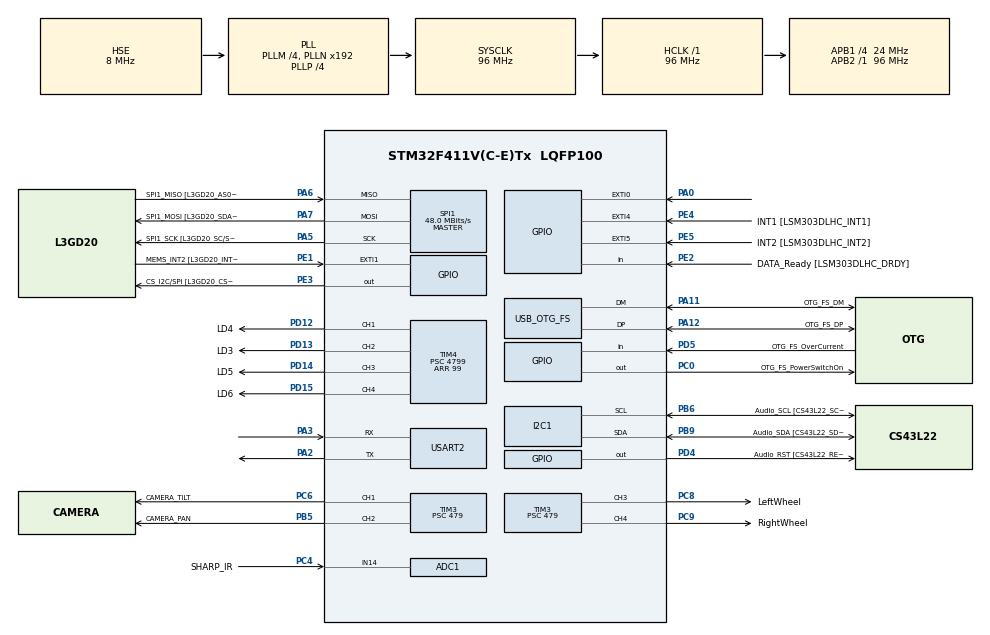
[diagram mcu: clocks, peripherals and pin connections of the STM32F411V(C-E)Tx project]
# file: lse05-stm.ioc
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ADC1.Channel-0\#ChannelRegularConversion=ADC_CHANNEL_14
ADC1.NbrOfConversionFlag=1
ADC1.Rank-0\#ChannelRegularConversion=1
ADC1.Resolution=ADC_RESOLUTION_8B
ADC1.SamplingTime-0\#ChannelRegularConversion=ADC_SAMPLETIME_3CYCLES
ADC1.master=1
Mcu.Family=STM32F4
Mcu.Name=STM32F411V(C-E)Tx
Mcu.Package=LQFP100
NVIC.ADC_IRQn=true\:0\:0\:false\:false\:true\:true
NVIC.OTG_FS_IRQn=true\:0\:0\:false\:false\:true\:true
NVIC.PriorityGroup=NVIC_PRIORITYGROUP_4
NVIC.RCC_IRQn=true\:0\:0\:false\:false\:true\:true
NVIC.TIM1_UP_TIM10_IRQn=true\:0\:0\:false\:false\:true\:true
NVIC.USART2_IRQn=true\:0\:0\:false\:false\:true\:true
PA0-WKUP.GPIO_ModeDefaultEXTI=GPIO_MODE_EVT_RISING
PA0-WKUP.Signal=GPXTI0
PA10.GPIO_Label=OTG_FS_ID
PA10.Signal=USB_OTG_FS_ID
PA11.GPIO_Label=OTG_FS_DM
PA11.Mode=Device_Only
PA11.Signal=USB_OTG_FS_DM
PA12.GPIO_Label=OTG_FS_DP
PA12.Mode=Device_Only
PA12.Signal=USB_OTG_FS_DP
PA13.GPIO_Label=SWDIO
PA13.Mode=Serial_Wire
PA13.Signal=SYS_JTMS-SWDIO
PA14.GPIO_Label=SWCLK
PA14.Mode=Serial_Wire
PA14.Signal=SYS_JTCK-SWCLK
PA2.Mode=Asynchronous
PA2.Signal=USART2_TX
PA3.Mode=Asynchronous
PA3.Signal=USART2_RX
PA4.GPIO_Label=I2S3_WS [CS43L22_LRCK]
PA4.GPIO_Mode=GPIO_MODE_AF_PP
PA4.GPIO_PuPd=GPIO_NOPULL
PA4.GPIO_Speed=GPIO_SPEED_FREQ_LOW
PA4.Signal=I2S3_WS
PA5.GPIO_Label=SPI1_SCK [L3GD20_SC/SPC]
PA5.Mode=Full_Duplex_Master
PA5.Signal=SPI1_SCK
PA6.GPIO_Label=SPI1_MISO [L3GD20_AS0/SDO]
PA6.Mode=Full_Duplex_Master
PA6.Signal=SPI1_MISO
PA7.GPIO_Label=SPI1_MOSI [L3GD20_SDA/SDI/SDO]
PA7.Mode=Full_Duplex_Master
PA7.Signal=SPI1_MOSI
PA9.GPIO_Label=VBUS_FS
PA9.Signal=USB_OTG_FS_VBUS
PB10.GPIO_Label=CLK_IN [MP45DT02_CLK]
PB10.Signal=I2S2_CK
PB12.Signal=I2S2_WS
PB3.GPIO_Label=SWO
PB3.Signal=SYS_JTDO-SWO
PB5.GPIO_Label=CAMERA_PAN
PB5.Signal=S_TIM3_CH2
PB6.GPIO_Label=Audio_SCL [CS43L22_SCL]
PB6.GPIO_Mode=GPIO_MODE_AF_OD
PB6.GPIO_PuPd=GPIO_NOPULL
PB6.GPIO_Speed=GPIO_SPEED_FREQ_LOW
PB6.Mode=I2C
PB6.Signal=I2C1_SCL
PB9.GPIO_Label=Audio_SDA [CS43L22_SDA]
PB9.GPIO_Mode=GPIO_MODE_AF_OD
PB9.GPIO_PuPd=GPIO_NOPULL
PB9.GPIO_Speed=GPIO_SPEED_FREQ_LOW
PB9.Mode=I2C
PB9.Signal=I2C1_SDA
PC0.GPIO_Label=OTG_FS_PowerSwitchOn
PC0.PinState=GPIO_PIN_SET
PC0.Signal=GPIO_Output
PC10.GPIO_Label=I2S3_SCK [CS43L22_SCLK]
PC10.GPIO_Mode=GPIO_MODE_AF_PP
PC10.GPIO_PuPd=GPIO_NOPULL
PC10.GPIO_Speed=GPIO_SPEED_FREQ_LOW
PC10.Signal=I2S3_CK
PC12.GPIO_Label=I2S3_SD [CS43L22_SDIN]
PC12.GPIO_Mode=GPIO_MODE_AF_PP
PC12.GPIO_PuPd=GPIO_NOPULL
PC12.GPIO_Speed=GPIO_SPEED_FREQ_LOW
PC12.Signal=I2S3_SD
PC14-OSC32_IN.GPIO_Label=PC14-OSC32_IN
PC14-OSC32_IN.Mode=LSE-External-Oscillator
PC14-OSC32_IN.Signal=RCC_OSC32_IN
PC15-OSC32_OUT.GPIO_Label=PC15-OSC32_OUT
PC15-OSC32_OUT.Mode=LSE-External-Oscillator
PC15-OSC32_OUT.Signal=RCC_OSC32_OUT
PC3.GPIO_Label=PDM_OUT [MP45DT02_DOUT]
PC3.Signal=I2S2_SD
PC4.GPIO_Label=SHARP_IR
PC4.Signal=ADCx_IN14
PC6.GPIO_Label=CAMERA_TILT
PC6.Signal=S_TIM3_CH1
PC7.GPIO_Label=I2S3_MCK [CS43L22_MCLK]
PC7.GPIO_Mode=GPIO_MODE_AF_PP
PC7.GPIO_PuPd=GPIO_NOPULL
PC7.GPIO_Speed=GPIO_SPEED_FREQ_LOW
PC7.Signal=I2S3_MCK
PC8.GPIO_Label=LeftWheel
PC8.Signal=S_TIM3_CH3
PC9.GPIO_Label=RightWheel
PC9.Signal=S_TIM3_CH4
PD12.GPIO_Label=LD4
PD12.Signal=S_TIM4_CH1
PD13.GPIO_Label=LD3
PD13.Signal=S_TIM4_CH2
PD14.GPIO_Label=LD5
PD14.Signal=S_TIM4_CH3
PD15.GPIO_Label=LD6
PD15.Signal=S_TIM4_CH4
PD4.GPIO_Label=Audio_RST [CS43L22_RESET]
PD4.Signal=GPIO_Output
PD5.GPIO_Label=OTG_FS_OverCurrent
PD5.Signal=GPIO_Input
PE1.GPIO_Label=MEMS_INT2 [L3GD20_INT2]
PE1.GPIO_ModeDefaultEXTI=GPIO_MODE_EVT_RISING
PE1.Signal=GPXTI1
PE2.GPIO_Label=DATA_Ready [LSM303DLHC_DRDY]
PE2.Signal=GPIO_Input
PE3.GPIO_Label=CS_I2C/SPI [L3GD20_CS_I2C/SPI]
PE3.Signal=GPIO_Output
PE4.GPIO_Label=INT1 [LSM303DLHC_INT1]
PE4.GPIO_ModeDefaultEXTI=GPIO_MODE_EVT_RISING
PE4.Signal=GPXTI4
PE5.GPIO_Label=INT2 [LSM303DLHC_INT2]
PE5.GPIO_ModeDefaultEXTI=GPIO_MODE_EVT_RISING
PE5.Signal=GPXTI5
PH0\ -\ OSC_IN.GPIO_Label=PH0-OSC_IN
PH0\ -\ OSC_IN.Mode=HSE-External-Clock-Source
PH0\ -\ OSC_IN.Signal=RCC_OSC_IN
PH1\ -\ OSC_OUT.GPIO_Label=PH1-OSC_OUT
PH1\ -\ OSC_OUT.Mode=HSE-External-Clock-Source
PH1\ -\ OSC_OUT.Signal=RCC_OSC_OUT
ProjectManager.HeapSize=0x200
ProjectManager.StackSize=0x400
ProjectManager.TargetToolchain=SW4STM32
RCC.48MHZClocksFreq_Value=48000000
RCC.AHBFreq_Value=96000000
RCC.APB1CLKDivider=RCC_HCLK_DIV4
RCC.APB1Freq_Value=24000000
RCC.APB1TimFreq_Value=48000000
RCC.APB2Freq_Value=96000000
RCC.APB2TimFreq_Value=96000000
RCC.CortexFreq_Value=96000000
RCC.HCLKFreq_Value=96000000
RCC.HSE_VALUE=8000000
RCC.HSI_VALUE=16000000
RCC.PLLI2SM=5
RCC.PLLI2SN=200
RCC.PLLM=4
RCC.PLLP=RCC_PLLP_DIV4
RCC.PLLQ=8
RCC.SYSCLKFreq_VALUE=96000000
RCC.SYSCLKSource=RCC_SYSCLKSOURCE_PLLCLK
RCC.VCOOutputFreq_Value=384000000
SH.ADCx_IN14.0=ADC1_IN14,IN14
SH.S_TIM3_CH1.0=TIM3_CH1,PWM Generation1 CH1
SH.S_TIM3_CH2.0=TIM3_CH2,PWM Generation2 CH2
SH.S_TIM3_CH3.0=TIM3_CH3,PWM Generation3 CH3
SH.S_TIM3_CH4.0=TIM3_CH4,PWM Generation4 CH4
SH.S_TIM4_CH1.0=TIM4_CH1,PWM Generation1 CH1
SH.S_TIM4_CH2.0=TIM4_CH2,PWM Generation2 CH2
SH.S_TIM4_CH3.0=TIM4_CH3,PWM Generation3 CH3
SH.S_TIM4_CH4.0=TIM4_CH4,PWM Generation4 CH4
SPI1.CalculateBaudRate=48.0 MBits/s
SPI1.Direction=SPI_DIRECTION_2LINES
SPI1.Mode=SPI_MODE_MASTER
SPI1.VirtualType=VM_MASTER
TIM10.Period=39
TIM10.Prescaler=48000
TIM3.Channel-PWM\ Generation1\ CH1=TIM_CHANNEL_1
TIM3.Channel-PWM\ Generation2\ CH2=TIM_CHANNEL_2
TIM3.Channel-PWM\ Generation3\ CH3=TIM_CHANNEL_3
TIM3.Channel-PWM\ Generation4\ CH4=TIM_CHANNEL_4
TIM3.Period=1999
TIM3.Prescaler=479
TIM3.Pulse-PWM\ Generation1\ CH1=50
TIM3.Pulse-PWM\ Generation3\ CH3=50
TIM3.Pulse-PWM\ Generation4\ CH4=50
TIM4.Channel-PWM\ Generation1\ CH1=TIM_CHANNEL_1
TIM4.Channel-PWM\ Generation2\ CH2=TIM_CHANNEL_2
TIM4.Channel-PWM\ Generation3\ CH3=TIM_CHANNEL_3
TIM4.Channel-PWM\ Generation4\ CH4=TIM_CHANNEL_4
TIM4.Period=99
TIM4.Prescaler=4799
TIM4.Pulse-PWM\ Generation1\ CH1=0
TIM4.Pulse-PWM\ Generation2\ CH2=0
TIM4.Pulse-PWM\ Generation3\ CH3=0
USART2.VirtualMode=VM_ASYNC
USB_DEVICE.CLASS_NAME_FS=CDC
USB_DEVICE.VirtualMode=Cdc
USB_DEVICE.VirtualModeFS=Cdc_FS
USB_OTG_FS.VirtualMode=Device_Only
VP_TIM10_VS_ClockSourceINT.Mode=Enable_Timer
VP_USB_DEVICE_VS_USB_DEVICE_CDC_FS.Mode=CDC_FS
board=32F411EDISCOVERY

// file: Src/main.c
/**
  ******************************************************************************
  * @file           : main.c
  * @brief          : Main program body
  ******************************************************************************
  * This notice applies to any and all portions of this file
  * that are not between comment pairs USER CODE BEGIN and
  * USER CODE END. Other portions of this file, whether
  * inserted by the user or by software development tools
  * are owned by their respective copyright owners.
  *
  * Copyright (c) 2018 STMicroelectronics International N.V.
  * All rights reserved.
  *
  * Redistribution and use in source and binary forms, with or without
  * modification, are permitted, provided that the following conditions are met:
  *
  * 1. Redistribution of source code must retain the above copyright notice,
  *    this list of conditions and the following disclaimer.
  * 2. Redistributions in binary form must reproduce the above copyright notice,
  *    this list of conditions and the following disclaimer in the documentation
  *    and/or other materials provided with the distribution.
  * 3. Neither the name of STMicroelectronics nor the names of other
  *    contributors to this software may be used to endorse or promote products
  *    derived from this software without specific written permission.
  * 4. This software, including modifications and/or derivative works of this
  *    software, must execute solely and exclusively on microcontroller or
  *    microprocessor devices manufactured by or for STMicroelectronics.
  * 5. Redistribution and use of this software other than as permitted under
  *    this license is void and will automatically terminate your rights under
  *    this license.
  *
  * THIS SOFTWARE IS PROVIDED BY STMICROELECTRONICS AND CONTRIBUTORS "AS IS"
  * AND ANY EXPRESS, IMPLIED OR STATUTORY WARRANTIES, INCLUDING, BUT NOT
  * LIMITED TO, THE IMPLIED WARRANTIES OF MERCHANTABILITY, FITNESS FOR A
  * PARTICULAR PURPOSE AND NON-INFRINGEMENT OF THIRD PARTY INTELLECTUAL PROPERTY
  * RIGHTS ARE DISCLAIMED TO THE FULLEST EXTENT PERMITTED BY LAW. IN NO EVENT
  * SHALL STMICROELECTRONICS OR CONTRIBUTORS BE LIABLE FOR ANY DIRECT, INDIRECT,
  * INCIDENTAL, SPECIAL, EXEMPLARY, OR CONSEQUENTIAL DAMAGES (INCLUDING, BUT NOT
  * LIMITED TO, PROCUREMENT OF SUBSTITUTE GOODS OR SERVICES; LOSS OF USE, DATA,
  * OR PROFITS; OR BUSINESS INTERRUPTION) HOWEVER CAUSED AND ON ANY THEORY OF
  * LIABILITY, WHETHER IN CONTRACT, STRICT LIABILITY, OR TORT (INCLUDING
  * NEGLIGENCE OR OTHERWISE) ARISING IN ANY WAY OUT OF THE USE OF THIS SOFTWARE,
  * EVEN IF ADVISED OF THE POSSIBILITY OF SUCH DAMAGE.
  *
  ******************************************************************************
  */
#include "main.h"
#include "stm32f4xx_hal.h"
#include "usb_device.h"

/* USER CODE BEGIN Includes */
#include "ring_buf.h"
#include "fsm.h"
#include <string.h>
#include <stdio.h>
#include <stdlib.h>
#include "stm32f411e_discovery_gyroscope.h"
#include "stm32f411e_discovery_accelerometer.h"
#include "stm32f411e_discovery_magnetometer.h"
#include "gyro.h"
#include "accelero.h"
#include "magneto.h"
#include "parser.h"
#include "sensor.h"
#include "uart.h"
#include "usb.h"
#include "collision.h"
/* USER CODE END Includes */

ADC_HandleTypeDef hadc1;

I2C_HandleTypeDef hi2c1;

SPI_HandleTypeDef hspi1;

TIM_HandleTypeDef htim3;
TIM_HandleTypeDef htim4;
TIM_HandleTypeDef htim10;

UART_HandleTypeDef huart2;

/* USER CODE BEGIN PV */
/* Private variables ---------------------------------------------------------*/
uint8_t test[]= "HOLA\r\n";
uint8_t uart_rx[512];
/* USER CODE END PV */

void SystemClock_Config(void);
static void MX_GPIO_Init(void);
static void MX_USART2_UART_Init(void);
static void MX_TIM3_Init(void);
static void MX_TIM4_Init(void);
static void MX_I2C1_Init(void);
static void MX_SPI1_Init(void);
static void MX_TIM10_Init(void);
static void MX_ADC1_Init(void);

void HAL_TIM_MspPostInit(TIM_HandleTypeDef *htim);

/* USER CODE BEGIN PFP */
/* Private function prototypes -----------------------------------------------*/

/* USER CODE END PFP */

int main(void)
{

  /* MCU Configuration----------------------------------------------------------*/

  /* Reset of all peripherals, Initializes the Flash interface and the Systick. */
  HAL_Init();

  /* Configure the system clock */
  SystemClock_Config();

  /* Initialize all configured peripherals */
  MX_GPIO_Init();
  MX_USART2_UART_Init();
  MX_USB_DEVICE_Init();
  MX_TIM3_Init();
  MX_TIM4_Init();
  MX_I2C1_Init();
  MX_SPI1_Init();
  MX_TIM10_Init();
  MX_ADC1_Init();
  /* USER CODE BEGIN 2 */
  fsm_t * usb_fsm  	      =       fsm_new_usb();
  fsm_t * uart_fsm 	      =      fsm_new_uart();
  fsm_t * parser_fsm      =    fsm_new_parser();
  fsm_t * imu_fsm 	      =       fsm_new_imu();
  fsm_t * proximity_fsm   = fsm_new_proximity();
  fsm_t * collision_fsm   = fsm_new_collision();
  sensorIMU.period = 800;
  sensorP.period   =  50;

  HAL_UART_Receive_IT(&huart2,(uint8_t *)uart_rx,UART_MSG_SIZE);
  USBD_CDC_ReceivePacket(&hUsbDeviceFS);

  HAL_TIM_PWM_Start(&htim3,TIM_CHANNEL_1);
  HAL_TIM_PWM_Start(&htim3,TIM_CHANNEL_2);
  HAL_TIM_PWM_Start(&htim3,TIM_CHANNEL_3);
  HAL_TIM_PWM_Start(&htim3,TIM_CHANNEL_4);

  HAL_TIM_PWM_Start(&htim4,TIM_CHANNEL_1);
  HAL_TIM_PWM_Start(&htim4,TIM_CHANNEL_2);
  HAL_TIM_PWM_Start(&htim4,TIM_CHANNEL_3);
  HAL_TIM_PWM_Start(&htim4,TIM_CHANNEL_4);

  // Valores de inicio para torreta y motores

  __HAL_TIM_SET_COMPARE(&htim3,TIM_CHANNEL_1,TILT_DEF);
  __HAL_TIM_SET_COMPARE(&htim3,TIM_CHANNEL_2,PAN_DEF);
  __HAL_TIM_SET_COMPARE(&htim3,TIM_CHANNEL_3,LEFT_DEF);
  __HAL_TIM_SET_COMPARE(&htim3,TIM_CHANNEL_4,RIGHT_DEF);
  HAL_TIM_Base_Start_IT(&htim10);
  BSP_ACCELERO_Init();
  BSP_GYRO_Init();
  BSP_MAGNETO_Init();
  /* USER CODE END 2 */

  /* Infinite loop */
  /* USER CODE BEGIN WHILE */
  while (1)
  {
	  //fsm_fire(proximity_fsm);
	 // fsm_fire(collision_fsm);
	 // if(collision_fsm->current_state == 0){ // COLLISION_IDLE
		  //fsm_fire(usb_fsm);
	  	  fsm_fire(uart_fsm);
	  	  fsm_fire(parser_fsm);
	  	  fsm_fire(imu_fsm);
	//  }
  /* USER CODE END WHILE */

  }

}

void SystemClock_Config(void)
{

  RCC_OscInitTypeDef RCC_OscInitStruct;
  RCC_ClkInitTypeDef RCC_ClkInitStruct;

    /**Configure the main internal regulator output voltage
    */
  __HAL_RCC_PWR_CLK_ENABLE();

  __HAL_PWR_VOLTAGESCALING_CONFIG(PWR_REGULATOR_VOLTAGE_SCALE1);

    /**Initializes the CPU, AHB and APB busses clocks
    */
  RCC_OscInitStruct.OscillatorType = RCC_OSCILLATORTYPE_HSE;
  RCC_OscInitStruct.HSEState = RCC_HSE_ON;
  RCC_OscInitStruct.PLL.PLLState = RCC_PLL_ON;
  RCC_OscInitStruct.PLL.PLLSource = RCC_PLLSOURCE_HSE;
  RCC_OscInitStruct.PLL.PLLM = 4;
  RCC_OscInitStruct.PLL.PLLN = 192;
  RCC_OscInitStruct.PLL.PLLP = RCC_PLLP_DIV4;
  RCC_OscInitStruct.PLL.PLLQ = 8;
  if (HAL_RCC_OscConfig(&RCC_OscInitStruct) != HAL_OK)
  {
    _Error_Handler(__FILE__, __LINE__);
  }

    /**Initializes the CPU, AHB and APB busses clocks
    */
  RCC_ClkInitStruct.ClockType = RCC_CLOCKTYPE_HCLK|RCC_CLOCKTYPE_SYSCLK
                              |RCC_CLOCKTYPE_PCLK1|RCC_CLOCKTYPE_PCLK2;
  RCC_ClkInitStruct.SYSCLKSource = RCC_SYSCLKSOURCE_PLLCLK;
  RCC_ClkInitStruct.AHBCLKDivider = RCC_SYSCLK_DIV1;
  RCC_ClkInitStruct.APB1CLKDivider = RCC_HCLK_DIV4;
  RCC_ClkInitStruct.APB2CLKDivider = RCC_HCLK_DIV1;

  if (HAL_RCC_ClockConfig(&RCC_ClkInitStruct, FLASH_LATENCY_3) != HAL_OK)
  {
    _Error_Handler(__FILE__, __LINE__);
  }

    /**Configure the Systick interrupt time
    */
  HAL_SYSTICK_Config(HAL_RCC_GetHCLKFreq()/1000);

    /**Configure the Systick
    */
  HAL_SYSTICK_CLKSourceConfig(SYSTICK_CLKSOURCE_HCLK);

  /* SysTick_IRQn interrupt configuration */
  HAL_NVIC_SetPriority(SysTick_IRQn, 0, 0);
}

/* ADC1 init function */
static void MX_ADC1_Init(void)
{

  ADC_ChannelConfTypeDef sConfig;

    /**Configure the global features of the ADC (Clock, Resolution, Data Alignment and number of conversion)
    */
  hadc1.Instance = ADC1;
  hadc1.Init.ClockPrescaler = ADC_CLOCK_SYNC_PCLK_DIV4;
  hadc1.Init.Resolution = ADC_RESOLUTION_8B;
  hadc1.Init.ScanConvMode = DISABLE;
  hadc1.Init.ContinuousConvMode = DISABLE;
  hadc1.Init.DiscontinuousConvMode = DISABLE;
  hadc1.Init.ExternalTrigConvEdge = ADC_EXTERNALTRIGCONVEDGE_NONE;
  hadc1.Init.ExternalTrigConv = ADC_SOFTWARE_START;
  hadc1.Init.DataAlign = ADC_DATAALIGN_RIGHT;
  hadc1.Init.NbrOfConversion = 1;
  hadc1.Init.DMAContinuousRequests = DISABLE;
  hadc1.Init.EOCSelection = ADC_EOC_SINGLE_CONV;
  if (HAL_ADC_Init(&hadc1) != HAL_OK)
  {
    _Error_Handler(__FILE__, __LINE__);
  }

    /**Configure for the selected ADC regular channel its corresponding rank in the sequencer and its sample time.
    */
  sConfig.Channel = ADC_CHANNEL_14;
  sConfig.Rank = 1;
  sConfig.SamplingTime = ADC_SAMPLETIME_3CYCLES;
  if (HAL_ADC_ConfigChannel(&hadc1, &sConfig) != HAL_OK)
  {
    _Error_Handler(__FILE__, __LINE__);
  }

}

/* I2C1 init function */
static void MX_I2C1_Init(void)
{

  hi2c1.Instance = I2C1;
  hi2c1.Init.ClockSpeed = 100000;
  hi2c1.Init.DutyCycle = I2C_DUTYCYCLE_2;
  hi2c1.Init.OwnAddress1 = 0;
  hi2c1.Init.AddressingMode = I2C_ADDRESSINGMODE_7BIT;
  hi2c1.Init.DualAddressMode = I2C_DUALADDRESS_DISABLE;
  hi2c1.Init.OwnAddress2 = 0;
  hi2c1.Init.GeneralCallMode = I2C_GENERALCALL_DISABLE;
  hi2c1.Init.NoStretchMode = I2C_NOSTRETCH_DISABLE;
  if (HAL_I2C_Init(&hi2c1) != HAL_OK)
  {
    _Error_Handler(__FILE__, __LINE__);
  }

}

/* SPI1 init function */
static void MX_SPI1_Init(void)
{

  /* SPI1 parameter configuration*/
  hspi1.Instance = SPI1;
  hspi1.Init.Mode = SPI_MODE_MASTER;
  hspi1.Init.Direction = SPI_DIRECTION_2LINES;
  hspi1.Init.DataSize = SPI_DATASIZE_8BIT;
  hspi1.Init.CLKPolarity = SPI_POLARITY_LOW;
  hspi1.Init.CLKPhase = SPI_PHASE_1EDGE;
  hspi1.Init.NSS = SPI_NSS_SOFT;
  hspi1.Init.BaudRatePrescaler = SPI_BAUDRATEPRESCALER_2;
  hspi1.Init.FirstBit = SPI_FIRSTBIT_MSB;
  hspi1.Init.TIMode = SPI_TIMODE_DISABLE;
  hspi1.Init.CRCCalculation = SPI_CRCCALCULATION_DISABLE;
  hspi1.Init.CRCPolynomial = 10;
  if (HAL_SPI_Init(&hspi1) != HAL_OK)
  {
    _Error_Handler(__FILE__, __LINE__);
  }

}

/* TIM3 init function */
static void MX_TIM3_Init(void)
{

  TIM_MasterConfigTypeDef sMasterConfig;
  TIM_OC_InitTypeDef sConfigOC;

  htim3.Instance = TIM3;
  htim3.Init.Prescaler = 479;
  htim3.Init.CounterMode = TIM_COUNTERMODE_UP;
  htim3.Init.Period = 1999;
  htim3.Init.ClockDivision = TIM_CLOCKDIVISION_DIV1;
  if (HAL_TIM_PWM_Init(&htim3) != HAL_OK)
  {
    _Error_Handler(__FILE__, __LINE__);
  }

  sMasterConfig.MasterOutputTrigger = TIM_TRGO_RESET;
  sMasterConfig.MasterSlaveMode = TIM_MASTERSLAVEMODE_DISABLE;
  if (HAL_TIMEx_MasterConfigSynchronization(&htim3, &sMasterConfig) != HAL_OK)
  {
    _Error_Handler(__FILE__, __LINE__);
  }

  sConfigOC.OCMode = TIM_OCMODE_PWM1;
  sConfigOC.Pulse = 50;
  sConfigOC.OCPolarity = TIM_OCPOLARITY_HIGH;
  sConfigOC.OCFastMode = TIM_OCFAST_DISABLE;
  if (HAL_TIM_PWM_ConfigChannel(&htim3, &sConfigOC, TIM_CHANNEL_1) != HAL_OK)
  {
    _Error_Handler(__FILE__, __LINE__);
  }

  sConfigOC.Pulse = 0;
  if (HAL_TIM_PWM_ConfigChannel(&htim3, &sConfigOC, TIM_CHANNEL_2) != HAL_OK)
  {
    _Error_Handler(__FILE__, __LINE__);
  }

  sConfigOC.Pulse = 50;
  if (HAL_TIM_PWM_ConfigChannel(&htim3, &sConfigOC, TIM_CHANNEL_3) != HAL_OK)
  {
    _Error_Handler(__FILE__, __LINE__);
  }

  if (HAL_TIM_PWM_ConfigChannel(&htim3, &sConfigOC, TIM_CHANNEL_4) != HAL_OK)
  {
    _Error_Handler(__FILE__, __LINE__);
  }

  HAL_TIM_MspPostInit(&htim3);

}

/* TIM4 init function */
static void MX_TIM4_Init(void)
{

  TIM_MasterConfigTypeDef sMasterConfig;
  TIM_OC_InitTypeDef sConfigOC;

  htim4.Instance = TIM4;
  htim4.Init.Prescaler = 4799;
  htim4.Init.CounterMode = TIM_COUNTERMODE_UP;
  htim4.Init.Period = 99;
  htim4.Init.ClockDivision = TIM_CLOCKDIVISION_DIV1;
  if (HAL_TIM_PWM_Init(&htim4) != HAL_OK)
  {
    _Error_Handler(__FILE__, __LINE__);
  }

  sMasterConfig.MasterOutputTrigger = TIM_TRGO_RESET;
  sMasterConfig.MasterSlaveMode = TIM_MASTERSLAVEMODE_DISABLE;
  if (HAL_TIMEx_MasterConfigSynchronization(&htim4, &sMasterConfig) != HAL_OK)
  {
    _Error_Handler(__FILE__, __LINE__);
  }

  sConfigOC.OCMode = TIM_OCMODE_PWM1;
  sConfigOC.Pulse = 0;
  sConfigOC.OCPolarity = TIM_OCPOLARITY_HIGH;
  sConfigOC.OCFastMode = TIM_OCFAST_DISABLE;
  if (HAL_TIM_PWM_ConfigChannel(&htim4, &sConfigOC, TIM_CHANNEL_1) != HAL_OK)
  {
    _Error_Handler(__FILE__, __LINE__);
  }

  if (HAL_TIM_PWM_ConfigChannel(&htim4, &sConfigOC, TIM_CHANNEL_2) != HAL_OK)
  {
    _Error_Handler(__FILE__, __LINE__);
  }

  if (HAL_TIM_PWM_ConfigChannel(&htim4, &sConfigOC, TIM_CHANNEL_3) != HAL_OK)
  {
    _Error_Handler(__FILE__, __LINE__);
  }

  if (HAL_TIM_PWM_ConfigChannel(&htim4, &sConfigOC, TIM_CHANNEL_4) != HAL_OK)
  {
    _Error_Handler(__FILE__, __LINE__);
  }

  HAL_TIM_MspPostInit(&htim4);

}

/* TIM10 init function */
static void MX_TIM10_Init(void)
{

  htim10.Instance = TIM10;
  htim10.Init.Prescaler = 48000;
  htim10.Init.CounterMode = TIM_COUNTERMODE_UP;
  htim10.Init.Period = 39;
  htim10.Init.ClockDivision = TIM_CLOCKDIVISION_DIV1;
  if (HAL_TIM_Base_Init(&htim10) != HAL_OK)
  {
    _Error_Handler(__FILE__, __LINE__);
  }

}

/* USART2 init function */
static void MX_USART2_UART_Init(void)
{

  huart2.Instance = USART2;
  huart2.Init.BaudRate = 115200;
  huart2.Init.WordLength = UART_WORDLENGTH_8B;
  huart2.Init.StopBits = UART_STOPBITS_1;
  huart2.Init.Parity = UART_PARITY_NONE;
  huart2.Init.Mode = UART_MODE_TX_RX;
  huart2.Init.HwFlowCtl = UART_HWCONTROL_NONE;
  huart2.Init.OverSampling = UART_OVERSAMPLING_16;
  if (HAL_UART_Init(&huart2) != HAL_OK)
  {
    _Error_Handler(__FILE__, __LINE__);
  }

}

/** Configure pins as
        * Analog
        * Input
        * Output
        * EVENT_OUT
        * EXTI
     PC3   ------> I2S2_SD
     PA4   ------> I2S3_WS
     PB10   ------> I2S2_CK
     PB12   ------> I2S2_WS
     PC7   ------> I2S3_MCK
     PC10   ------> I2S3_CK
     PC12   ------> I2S3_SD
*/
static void MX_GPIO_Init(void)
{

  GPIO_InitTypeDef GPIO_InitStruct;

  /* GPIO Ports Clock Enable */
  __HAL_RCC_GPIOE_CLK_ENABLE();
  __HAL_RCC_GPIOC_CLK_ENABLE();
  __HAL_RCC_GPIOH_CLK_ENABLE();
  __HAL_RCC_GPIOA_CLK_ENABLE();
  __HAL_RCC_GPIOB_CLK_ENABLE();
  __HAL_RCC_GPIOD_CLK_ENABLE();

  /*Configure GPIO pin Output Level */
  HAL_GPIO_WritePin(CS_I2C_SPI_GPIO_Port, CS_I2C_SPI_Pin, GPIO_PIN_RESET);

  /*Configure GPIO pin Output Level */
  HAL_GPIO_WritePin(OTG_FS_PowerSwitchOn_GPIO_Port, OTG_FS_PowerSwitchOn_Pin, GPIO_PIN_SET);

  /*Configure GPIO pin Output Level */
  HAL_GPIO_WritePin(Audio_RST_GPIO_Port, Audio_RST_Pin, GPIO_PIN_RESET);

  /*Configure GPIO pin : DATA_Ready_Pin */
  GPIO_InitStruct.Pin = DATA_Ready_Pin;
  GPIO_InitStruct.Mode = GPIO_MODE_INPUT;
  GPIO_InitStruct.Pull = GPIO_NOPULL;
  HAL_GPIO_Init(DATA_Ready_GPIO_Port, &GPIO_InitStruct);

  /*Configure GPIO pin : CS_I2C_SPI_Pin */
  GPIO_InitStruct.Pin = CS_I2C_SPI_Pin;
  GPIO_InitStruct.Mode = GPIO_MODE_OUTPUT_PP;
  GPIO_InitStruct.Pull = GPIO_NOPULL;
  GPIO_InitStruct.Speed = GPIO_SPEED_FREQ_LOW;
  HAL_GPIO_Init(CS_I2C_SPI_GPIO_Port, &GPIO_InitStruct);

  /*Configure GPIO pins : INT1_Pin INT2_Pin MEMS_INT2_Pin */
  GPIO_InitStruct.Pin = INT1_Pin|INT2_Pin|MEMS_INT2_Pin;
  GPIO_InitStruct.Mode = GPIO_MODE_EVT_RISING;
  GPIO_InitStruct.Pull = GPIO_NOPULL;
  HAL_GPIO_Init(GPIOE, &GPIO_InitStruct);

  /*Configure GPIO pin : OTG_FS_PowerSwitchOn_Pin */
  GPIO_InitStruct.Pin = OTG_FS_PowerSwitchOn_Pin;
  GPIO_InitStruct.Mode = GPIO_MODE_OUTPUT_PP;
  GPIO_InitStruct.Pull = GPIO_NOPULL;
  GPIO_InitStruct.Speed = GPIO_SPEED_FREQ_LOW;
  HAL_GPIO_Init(OTG_FS_PowerSwitchOn_GPIO_Port, &GPIO_InitStruct);

  /*Configure GPIO pin : PDM_OUT_Pin */
  GPIO_InitStruct.Pin = PDM_OUT_Pin;
  GPIO_InitStruct.Mode = GPIO_MODE_AF_PP;
  GPIO_InitStruct.Pull = GPIO_NOPULL;
  GPIO_InitStruct.Speed = GPIO_SPEED_FREQ_LOW;
  GPIO_InitStruct.Alternate = GPIO_AF5_SPI2;
  HAL_GPIO_Init(PDM_OUT_GPIO_Port, &GPIO_InitStruct);

  /*Configure GPIO pin : PA0 */
  GPIO_InitStruct.Pin = GPIO_PIN_0;
  GPIO_InitStruct.Mode = GPIO_MODE_EVT_RISING;
  GPIO_InitStruct.Pull = GPIO_NOPULL;
  HAL_GPIO_Init(GPIOA, &GPIO_InitStruct);

  /*Configure GPIO pin : I2S3_WS_Pin */
  GPIO_InitStruct.Pin = I2S3_WS_Pin;
  GPIO_InitStruct.Mode = GPIO_MODE_AF_PP;
  GPIO_InitStruct.Pull = GPIO_NOPULL;
  GPIO_InitStruct.Speed = GPIO_SPEED_FREQ_LOW;
  GPIO_InitStruct.Alternate = GPIO_AF6_SPI3;
  HAL_GPIO_Init(I2S3_WS_GPIO_Port, &GPIO_InitStruct);

  /*Configure GPIO pins : CLK_IN_Pin PB12 */
  GPIO_InitStruct.Pin = CLK_IN_Pin|GPIO_PIN_12;
  GPIO_InitStruct.Mode = GPIO_MODE_AF_PP;
  GPIO_InitStruct.Pull = GPIO_NOPULL;
  GPIO_InitStruct.Speed = GPIO_SPEED_FREQ_LOW;
  GPIO_InitStruct.Alternate = GPIO_AF5_SPI2;
  HAL_GPIO_Init(GPIOB, &GPIO_InitStruct);

  /*Configure GPIO pins : I2S3_MCK_Pin I2S3_SCK_Pin I2S3_SD_Pin */
  GPIO_InitStruct.Pin = I2S3_MCK_Pin|I2S3_SCK_Pin|I2S3_SD_Pin;
  GPIO_InitStruct.Mode = GPIO_MODE_AF_PP;
  GPIO_InitStruct.Pull = GPIO_NOPULL;
  GPIO_InitStruct.Speed = GPIO_SPEED_FREQ_LOW;
  GPIO_InitStruct.Alternate = GPIO_AF6_SPI3;
  HAL_GPIO_Init(GPIOC, &GPIO_InitStruct);

  /*Configure GPIO pin : Audio_RST_Pin */
  GPIO_InitStruct.Pin = Audio_RST_Pin;
  GPIO_InitStruct.Mode = GPIO_MODE_OUTPUT_PP;
  GPIO_InitStruct.Pull = GPIO_NOPULL;
  GPIO_InitStruct.Speed = GPIO_SPEED_FREQ_LOW;
  HAL_GPIO_Init(Audio_RST_GPIO_Port, &GPIO_InitStruct);

  /*Configure GPIO pin : OTG_FS_OverCurrent_Pin */
  GPIO_InitStruct.Pin = OTG_FS_OverCurrent_Pin;
  GPIO_InitStruct.Mode = GPIO_MODE_INPUT;
  GPIO_InitStruct.Pull = GPIO_NOPULL;
  HAL_GPIO_Init(OTG_FS_OverCurrent_GPIO_Port, &GPIO_InitStruct);

}

void _Error_Handler(char *file, int line)
{
  while(1)
  {
  }
}

/************************ (C) COPYRIGHT STMicroelectronics *****END OF FILE****/
